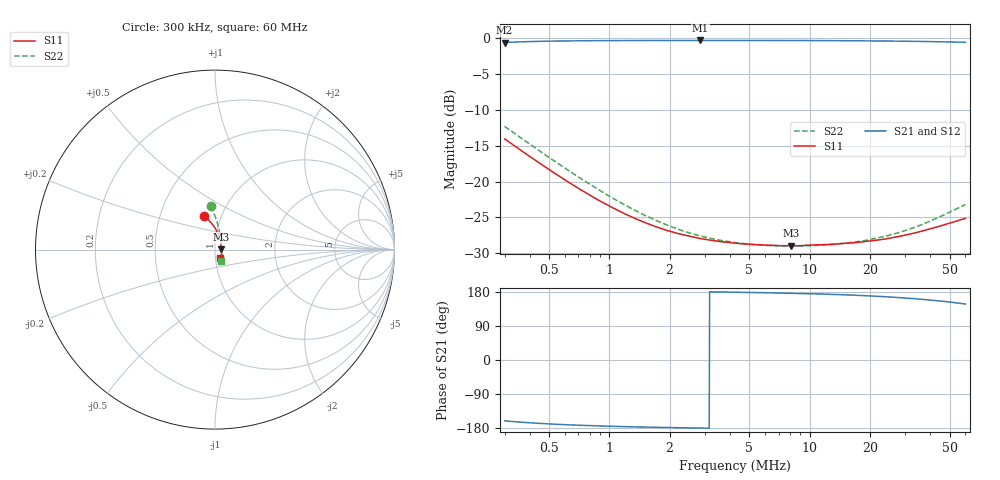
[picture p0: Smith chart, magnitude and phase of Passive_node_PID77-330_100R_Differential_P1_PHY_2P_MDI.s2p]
! TOUCHSTONE file generated by CST DESIGN STUDIO
! Date and time: Tue May 12 12:08:14 2026
! Project name: C:\sim_local\10base-t1m\passive_node_simulations_nostub.cst
! Tree item: Tasks\SPara1\S-Parameters
! Header version: 2024
! Port assignment regex: !\s*Touchstone port\s*([0-9]+)\s*=\s*(CST MWS port|CST DES external port|CST DES block port)\s*(.+)\s* \(\"(.*)\"\)(\s*mode\s*([0-9]+))?.*
! Touchstone port assignment:
! Touchstone port 1 = CST DES external port 1 ("PHY")
! Touchstone port 2 = CST DES external port 2 ("MDI")
# MHz S MA R 100
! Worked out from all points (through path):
!   1001 points, 300 kHz to 60 MHz, reference 100 ohm
!   highest |S21| = -0.31 dB at 2.851 MHz (marker M1); lowest = -0.6 dB at 300 kHz (marker M2)
!   lowest |S11| = -29.0 dB at 8.098 MHz (marker M3), VSWR 1.07, Z = 107 + j0.576 ohm
!   |S11| at or under -10 dB: start of sweep to end of sweep
!   |S22| runs from -29.0 to -12.3 dB; largest |S21 - S12| = 0.00039
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0.3  0.1985 108.6  0.934 -160.6  0.934 -160.6  0.2426 95.7
0.3649718  0.1637 101.2  0.9445 -164.2  0.9446 -164.2  0.1999 91.4
0.4440148  0.1357 94.3  0.9516 -167.1  0.9515 -167.1  0.1652 87.2
0.5665586  0.1082 86.0  0.9571 -170.1  0.957 -170.1  0.1309 81.9
0.7267638  0.087 77.7  0.9606 -172.4  0.9605 -172.4  0.1041 76.2
0.9078969  0.07262 70.1  0.9625 -174.1  0.9623 -174.1  0.08574 70.6
1.158468  0.06081 61.6  0.9637 -175.7  0.9636 -175.7  0.0703 64.0
1.416847  0.05354 54.5  0.9645 -176.7  0.9644 -176.7  0.06057 57.9
1.760619  0.0477 46.8  0.9649 -177.7  0.9649 -177.7  0.05258 51.1
2.234661  0.04311 38.5  0.9652 -178.7  0.9651 -178.7  0.04616 43.2
2.851406  0.04006 30.6  0.9653 -179.6  0.9652 -179.6  0.0417 35.2
3.562068  0.03814 23.9  0.9652 179.6  0.9651 179.6  0.03896 28.2
4.242641  0.03716 19.2  0.9652 178.9  0.9651 178.9  0.03747 22.9
5.500304  0.03623 12.7  0.9649 177.9  0.9648 177.9  0.03608 15.6
8.097704  0.03564 4.3  0.9643 176.1  0.9641 176.1  0.03541 5.8
10.27799  0.03605 -1.7  0.9633 174.8  0.963 174.8  0.03569 -1.0
16.91239  0.03746 -13.2  0.9606 170.9  0.9602 170.9  0.03786 -13.9
24.89891  0.04017 -24.2  0.9565 166.4  0.9562 166.4  0.04212 -25.7
31.60288  0.04293 -32.5  0.9529 162.7  0.9526 162.7  0.04658 -34.2
40.32497  0.04685 -42.5  0.9479 158.1  0.9476 158.1  0.05321 -43.9
49.05826  0.05078 -51.6  0.943 153.4  0.9428 153.4  0.06025 -52.5
60  0.05536 -61.8  0.9371 147.7  0.9368 147.7  0.0691 -61.7
